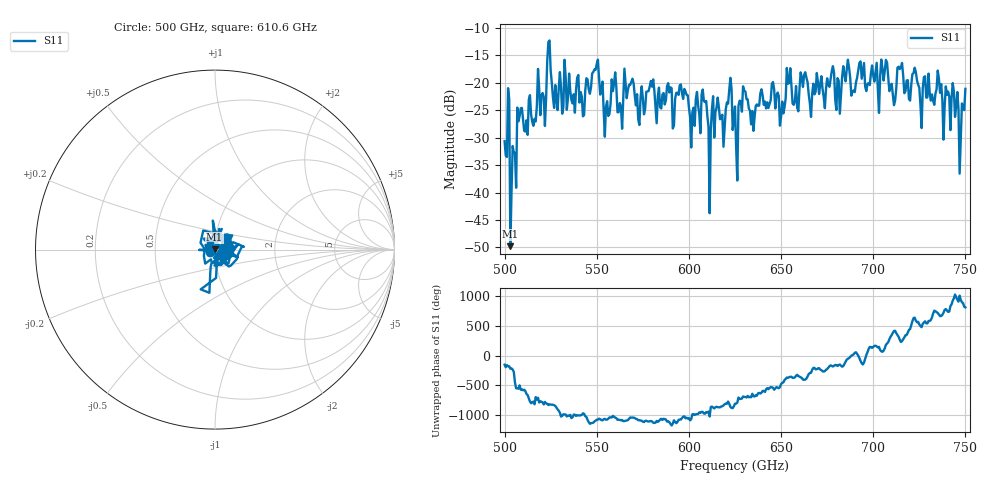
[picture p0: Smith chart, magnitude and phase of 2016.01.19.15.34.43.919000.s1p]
!Created with skrf (http://scikit-rf.org).
# GHz S RI R 50.0
!freq ReS11 ImS11
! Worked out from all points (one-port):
!   401 points, 500 GHz to 750 GHz, reference 50 ohm
!   lowest |S11| = -49.8 dB at 503.1 GHz (marker M1), VSWR 1.01, Z = 49.8 + j0.207 ohm
!   |S11| at or under -10 dB: start of sweep to end of sweep
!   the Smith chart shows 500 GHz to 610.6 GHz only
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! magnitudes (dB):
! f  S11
! 500 GHz  -30.6
! 503.1 GHz  -49.8
! 504.4 GHz  -31.5
! 508.1 GHz  -26.1
! 520.6 GHz  -21.9
! 524.4 GHz  -12.3
! 527.5 GHz  -20.4
! 531.2 GHz  -25.6
! 541.9 GHz  -22.5
! 549.4 GHz  -17.6
! 555 GHz  -24.3
! 559.4 GHz  -20.2
! 562.5 GHz  -23.7
! 568.8 GHz  -19.9
! 593.8 GHz  -21.8
! 601.9 GHz  -25.3
! 608.1 GHz  -23.3
! 611.2 GHz  -43.8
! 621.9 GHz  -21.3
! 625 GHz  -24.3
! 630.6 GHz  -21.6
! 634.4 GHz  -25.1
! 656.2 GHz  -23.8
! 687.5 GHz  -19.1
! 718.8 GHz  -19.5
! 735.6 GHz  -19.2
! 748.1 GHz  -23.8
! 750 GHz  -21.1
